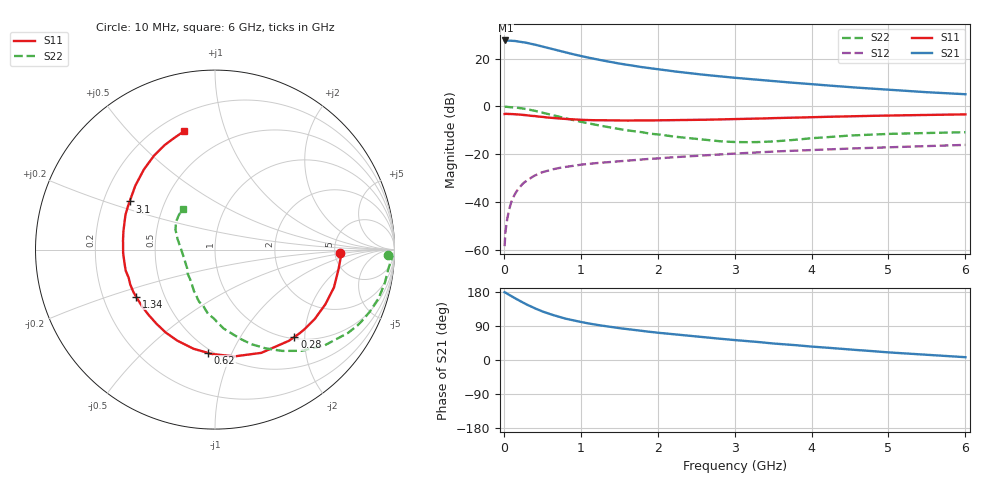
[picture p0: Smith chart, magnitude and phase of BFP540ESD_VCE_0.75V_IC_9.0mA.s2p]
! Infineon Technologies  Discrete & RF Semiconductors
! BFP540ESD
! VCE = 0.75 V,  IC =  9.0 mA
! Common Emitter S-Parameters:  Nov 2015
# GHz  S  MA  R  50
!  f  S11  S21  S12  S22
! GHz  MAG  ANG  MAG  ANG  MAG  ANG  MAG  ANG
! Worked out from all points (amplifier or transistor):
!   210 points, 10 MHz to 6 GHz, reference 50 ohm
!   highest |S21| = 27.6 dB at 20 MHz (marker M1)
!   |S21| within 3 dB of that: start of sweep to 559.6 MHz
!   unconditionally stable (mu >= 1): 2.813 GHz to end of sweep
!   at 185 MHz: K = 0.11, MSG = 30.9 dB, |S12| = -34.7 dB
!   at 1.52 GHz: K = 0.71, MSG = 20.3 dB, |S12| = -22.9 dB
!   at 6 GHz: K = 1.17, MAG = 8.1 dB, |S12| = -16.1 dB
!   S11 on the Smith chart (normalised r, x): 10 MHz: 5.52, -0.41; 280 MHz: 1.04, -1.78; 620 MHz: 0.47, -0.82; 1.34 GHz: 0.34, -0.24; 3.1 GHz: 0.31, +0.24; 6 GHz: 0.30, +0.73
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0.01  0.6948 -1.6  23.91 178.7  0.0012 95.4  0.9652 -1.7
0.02  0.7012 -4.0  23.93 178.0  0.0023 82.8  0.9895 -2.2
0.1  0.6954 -17.7  23.6 168.4  0.0103 82.6  0.9642 -11.1
0.15  0.6863 -26.4  23.29 162.5  0.0153 77.9  0.9512 -16.6
0.22  0.6714 -38.1  22.41 154.7  0.0218 73.3  0.9186 -23.9
0.28  0.6578 -47.7  21.56 148.3  0.0268 70.2  0.8864 -30.0
0.3  0.6543 -50.9  21.28 146.2  0.0282 68.9  0.8749 -32.0
0.4  0.6306 -65.8  19.63 136.7  0.0358 62.6  0.8119 -41.0
0.5  0.6048 -79.7  17.99 128.2  0.0421 57.6  0.7427 -49.4
0.62  0.577 -93.8  15.98 119.9  0.0477 53.7  0.6656 -57.6
0.8  0.5491 -112.5  13.51 109.2  0.0543 48.2  0.566 -68.8
0.9  0.5374 -120.7  12.33 104.5  0.0573 46.1  0.5196 -73.8
1.02  0.5241 -129.8  11.16 99.6  0.061 43.9  0.4708 -79.6
1.2  0.5149 -142.0  9.677 93.0  0.0653 42.0  0.4121 -87.3
1.34  0.5119 -149.3  8.786 88.8  0.0682 40.6  0.374 -93.0
1.68  0.5099 -165.8  7.086 79.4  0.0752 38.4  0.306 -106.1
2.02  0.5121 -178.5  5.918 71.6  0.0823 36.6  0.2583 -117.1
2.6  0.5265 163.4  4.589 60.0  0.0949 33.9  0.2026 -138.9
3.1  0.546 150.6  3.848 51.0  0.1055 30.9  0.1793 -159.4
4.1  0.6015 129.7  2.831 34.0  0.1242 23.9  0.2218 161.9
5.1  0.6493 114.5  2.182 18.9  0.1416 16.8  0.2686 142.9
6  0.6821 104.5  1.799 7.4  0.1571 11.3  0.289 128.2
